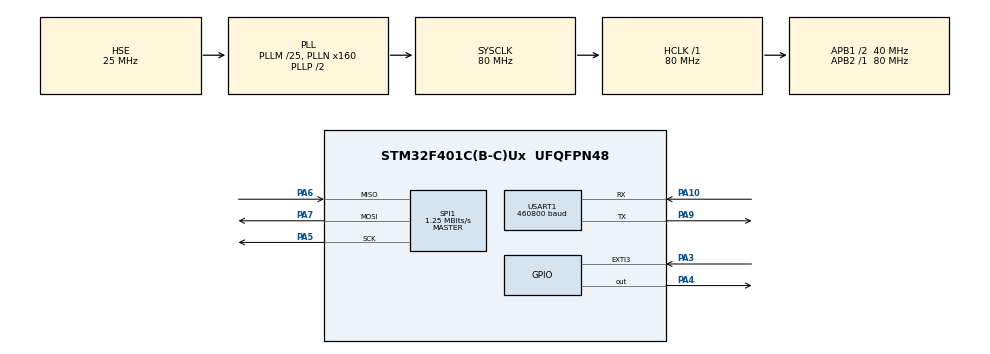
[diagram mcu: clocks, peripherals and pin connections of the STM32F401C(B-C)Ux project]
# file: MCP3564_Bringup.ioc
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Mcu.Family=STM32F4
Mcu.Name=STM32F401C(B-C)Ux
Mcu.Package=UFQFPN48
NVIC.PriorityGroup=NVIC_PRIORITYGROUP_4
NVIC.USART1_IRQn=true\:0\:0\:false\:false\:true\:true\:true\:true
PA10.Mode=Asynchronous
PA10.Signal=USART1_RX
PA13.Mode=Serial_Wire
PA13.Signal=SYS_JTMS-SWDIO
PA14.Mode=Serial_Wire
PA14.Signal=SYS_JTCK-SWCLK
PA3.Signal=GPXTI3
PA4.GPIO_Speed=GPIO_SPEED_FREQ_VERY_HIGH
PA4.PinState=GPIO_PIN_SET
PA4.Signal=GPIO_Output
PA5.Mode=Full_Duplex_Master
PA5.Signal=SPI1_SCK
PA6.Mode=Full_Duplex_Master
PA6.Signal=SPI1_MISO
PA7.Mode=Full_Duplex_Master
PA7.Signal=SPI1_MOSI
PA9.Mode=Asynchronous
PA9.Signal=USART1_TX
PH0\ -\ OSC_IN.Mode=HSE-External-Oscillator
PH0\ -\ OSC_IN.Signal=RCC_OSC_IN
PH1\ -\ OSC_OUT.Mode=HSE-External-Oscillator
PH1\ -\ OSC_OUT.Signal=RCC_OSC_OUT
ProjectManager.HeapSize=0x200
ProjectManager.StackSize=0x400
ProjectManager.TargetToolchain=STM32CubeIDE
RCC.48MHZClocksFreq_Value=40000000
RCC.AHBFreq_Value=80000000
RCC.APB1CLKDivider=RCC_HCLK_DIV2
RCC.APB1Freq_Value=40000000
RCC.APB1TimFreq_Value=80000000
RCC.APB2Freq_Value=80000000
RCC.APB2TimFreq_Value=80000000
RCC.CortexFreq_Value=80000000
RCC.HCLKFreq_Value=80000000
RCC.HSE_VALUE=25000000
RCC.HSI_VALUE=16000000
RCC.LSE_VALUE=32768
RCC.PLLM=25
RCC.PLLN=160
RCC.PLLSourceVirtual=RCC_PLLSOURCE_HSE
RCC.SYSCLKFreq_VALUE=80000000
RCC.SYSCLKSource=RCC_SYSCLKSOURCE_PLLCLK
RCC.VCOOutputFreq_Value=160000000
SPI1.BaudRatePrescaler=SPI_BAUDRATEPRESCALER_64
SPI1.CLKPhase=SPI_PHASE_1EDGE
SPI1.CLKPolarity=SPI_POLARITY_LOW
SPI1.CalculateBaudRate=1.25 MBits/s
SPI1.Direction=SPI_DIRECTION_2LINES
SPI1.Mode=SPI_MODE_MASTER
SPI1.TIMode=SPI_TIMODE_DISABLE
SPI1.VirtualType=VM_MASTER
USART1.BaudRate=460800
USART1.OverSampling=UART_OVERSAMPLING_8
USART1.VirtualMode=VM_ASYNC
board=custom

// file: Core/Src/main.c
/* USER CODE BEGIN Header */
/**
  ******************************************************************************
  * @file           : main.c
  * @brief          : Main program body
  ******************************************************************************
  * @attention
  *
  * Copyright (c) 2023 STMicroelectronics.
  * All rights reserved.
  *
  * This software is licensed under terms that can be found in the LICENSE file
  * in the root directory of this software component.
  * If no LICENSE file comes with this software, it is provided AS-IS.
  *
  ******************************************************************************
  */
/* USER CODE END Header */
#include "main.h"
#include "spi.h"
#include "usart.h"
#include "gpio.h"

/* USER CODE BEGIN PD */
#define PUTCHAR_PROTOTYPE int __io_putchar(int ch)
/* USER CODE END PD */

/* USER CODE BEGIN PV */
/* Buffer used for transmission */
uint8_t aTxBuffer[16] = { 0x47 };
//
///* Buffer used for reception */
//UartData TTY;
uint8_t aRxBuffer[16]= { 0, 0, 0, 0,
						 0, 0, 0, 0,
						 0, 0, 0, 0,
						 0, 0, 0, 0 };
//
//uint8_t RxData[32];
//uint8_t *pRxData = &TTY.RxData[0];
//uint8_t TxData[16]= { 34, 35, 36, 37,
//						 34, 35, 36, 37,
//						 34, 35, 36, 37,
//						 34, 35, 36, 37 };

//uint8_t TTY.TxData[16]= { 34, 35, 36, 37,
//						 34, 35, 36, 37,
//						 34, 35, 36, 37,
//						 34, 35, 36, 37 };

/* USER CODE END PV */

void SystemClock_Config(void);

int main(void)
{

  /* MCU Configuration--------------------------------------------------------*/

  /* Reset of all peripherals, Initializes the Flash interface and the Systick. */
  HAL_Init();

  /* Configure the system clock */
  SystemClock_Config();

  /* Initialize all configured peripherals */
  MX_GPIO_Init();
  MX_SPI1_Init();
  MX_USART1_UART_Init();
  /* USER CODE BEGIN 2 */
  HAL_GPIO_WritePin( GPIOA, GPIO_PIN_4, 1);
  Running_UART_Comm_Init();
//  if(HAL_UART_Receive_IT (&huart1, NULL,1)!= HAL_OK)
//  {
//    Error_Handler();
//  }
  /* USER CODE END 2 */

  /* Infinite loop */

    /* USER CODE BEGIN 3 */
	  HAL_GPIO_WritePin( GPIOA, GPIO_PIN_4, 0);
	  aTxBuffer[0] = 0x78;
	  if(HAL_SPI_Transmit(&hspi1, aTxBuffer, 1, 1000)!= HAL_OK)
  	  {
 	    Error_Handler();
  	  }
	  HAL_GPIO_WritePin( GPIOA, GPIO_PIN_4, 1);

	  HAL_Delay(2000);
	  HAL_GPIO_WritePin( GPIOA, GPIO_PIN_4, 0);
	  aTxBuffer[0] = 0x47;
	  if(HAL_SPI_TransmitReceive (&hspi1, aTxBuffer, aRxBuffer, 16, 1000)!= HAL_OK)
	  {
		Error_Handler();
	  }
	  HAL_GPIO_WritePin( GPIOA, GPIO_PIN_4, 1);

	  HAL_Delay(2000);

	  HAL_GPIO_WritePin( GPIOA, GPIO_PIN_4, 0);
		aTxBuffer[0] = 0x46;
		aTxBuffer[1] = 0x63;
		aTxBuffer[2] = 0x20;
		aTxBuffer[3] = 0x89;
		aTxBuffer[4] = 0x80;
		aTxBuffer[5] = 0x07;
		aTxBuffer[6] = 0xBC;
	  if(HAL_SPI_Transmit(&hspi1, aTxBuffer, 7, 1000)!= HAL_OK)
		  {
		Error_Handler();
		  }
	  HAL_GPIO_WritePin( GPIOA, GPIO_PIN_4, 1);

	  HAL_Delay(2000);

	  HAL_GPIO_WritePin( GPIOA, GPIO_PIN_4, 0);
		aTxBuffer[0] = 0x47;
		aTxBuffer[1] = 0;
		aTxBuffer[2] = 0;
		aTxBuffer[3] = 0;
		aTxBuffer[4] = 0;
		aTxBuffer[5] = 0;
		aTxBuffer[6] = 0;
	  if(HAL_SPI_TransmitReceive (&hspi1, aTxBuffer, aRxBuffer, 16, 1000)!= HAL_OK)
	  {
		Error_Handler();
	  }
	  HAL_GPIO_WritePin( GPIOA, GPIO_PIN_4, 1);
	  while (1)
	  {
	  HAL_Delay(2000);
	  HAL_GPIO_WritePin( GPIOA, GPIO_PIN_4, 0);
	  aTxBuffer[0] = 0x6C;
	  if(HAL_SPI_Transmit(&hspi1, aTxBuffer, 1, 1000)!= HAL_OK)
  	  {
 	    Error_Handler();
  	  }
	  HAL_GPIO_WritePin( GPIOA, GPIO_PIN_4, 1);

	  HAL_Delay(2000);
		aRxBuffer[0] = 0;
		aRxBuffer[1] = 0;
		aRxBuffer[2] = 0;
		aRxBuffer[3] = 0;
		aRxBuffer[4] = 0;
		aRxBuffer[5] = 0;
		aRxBuffer[6] = 0;
	  HAL_GPIO_WritePin( GPIOA, GPIO_PIN_4, 0);
		aTxBuffer[0] = 0x43;
		aTxBuffer[1] = 0;
		aTxBuffer[2] = 0;
		aTxBuffer[3] = 0;
		aTxBuffer[4] = 0;
		aTxBuffer[5] = 0;
		aTxBuffer[6] = 0;
	  if(HAL_SPI_TransmitReceive (&hspi1, aTxBuffer, aRxBuffer, 6, 1000)!= HAL_OK)
	  {
		Error_Handler();
	  }
	  HAL_GPIO_WritePin( GPIOA, GPIO_PIN_4, 1);

	  HAL_Delay(500);
//	  if(HAL_UART_Transmit(&huart1, (uint8_t *)TxData,16,300)!= HAL_OK)
//	  {
//	    Error_Handler();
//	  }
//	  if(HAL_UART_Transmit_IT (&huart1, (uint8_t *)TxData,16)!= HAL_OK)
//	  {
//	    Error_Handler();
//	  }
//	  char * result = strstr(RxData , "admin" );
  }
  /* USER CODE END 3 */
}

void SystemClock_Config(void)
{
  RCC_OscInitTypeDef RCC_OscInitStruct = {0};
  RCC_ClkInitTypeDef RCC_ClkInitStruct = {0};

  /** Configure the main internal regulator output voltage
  */
  __HAL_RCC_PWR_CLK_ENABLE();
  __HAL_PWR_VOLTAGESCALING_CONFIG(PWR_REGULATOR_VOLTAGE_SCALE2);

  /** Initializes the RCC Oscillators according to the specified parameters
  * in the RCC_OscInitTypeDef structure.
  */
  RCC_OscInitStruct.OscillatorType = RCC_OSCILLATORTYPE_HSE;
  RCC_OscInitStruct.HSEState = RCC_HSE_ON;
  RCC_OscInitStruct.PLL.PLLState = RCC_PLL_ON;
  RCC_OscInitStruct.PLL.PLLSource = RCC_PLLSOURCE_HSE;
  RCC_OscInitStruct.PLL.PLLM = 25;
  RCC_OscInitStruct.PLL.PLLN = 160;
  RCC_OscInitStruct.PLL.PLLP = RCC_PLLP_DIV2;
  RCC_OscInitStruct.PLL.PLLQ = 4;
  if (HAL_RCC_OscConfig(&RCC_OscInitStruct) != HAL_OK)
  {
    Error_Handler();
  }

  /** Initializes the CPU, AHB and APB buses clocks
  */
  RCC_ClkInitStruct.ClockType = RCC_CLOCKTYPE_HCLK|RCC_CLOCKTYPE_SYSCLK
                              |RCC_CLOCKTYPE_PCLK1|RCC_CLOCKTYPE_PCLK2;
  RCC_ClkInitStruct.SYSCLKSource = RCC_SYSCLKSOURCE_PLLCLK;
  RCC_ClkInitStruct.AHBCLKDivider = RCC_SYSCLK_DIV1;
  RCC_ClkInitStruct.APB1CLKDivider = RCC_HCLK_DIV2;
  RCC_ClkInitStruct.APB2CLKDivider = RCC_HCLK_DIV1;

  if (HAL_RCC_ClockConfig(&RCC_ClkInitStruct, FLASH_LATENCY_2) != HAL_OK)
  {
    Error_Handler();
  }
}

/* USER CODE BEGIN 4 */

PUTCHAR_PROTOTYPE
{
  /* Place your implementation of fputc here */
  /* e.g. write a character to the USART1 and Loop until the end of transmission */
	HAL_UART_Transmit(COMM_PARAM_UART, (uint8_t *)&ch, 1, 0xFFFF);

  return ch;
}

/**
  * @brief  Tx Transfer completed callback
  * @param  UartHandle: UART handle.
  * @note   This example shows a simple way to report end of IT Tx transfer, and
  *         you can add your own implementation.
  * @retval None
  */
void HAL_UART_TxCpltCallback(UART_HandleTypeDef *UartHandle)
{
  /* Turn LED1 on: Transfer in transmission process is correct */
	 HAL_GPIO_WritePin( GPIOA, GPIO_PIN_4, 1);
}

/**
  * @brief  Rx Transfer completed callback
  * @param  UartHandle: UART handle
  * @note   This example shows a simple way to report end of IT Rx transfer, and
  *         you can add your own implementation.
  * @retval None
  */
void HAL_UART_RxCpltCallback(UART_HandleTypeDef *UartHandle)
{
	Running_UART_Rx_Process();
}
/* USER CODE END 4 */

void Error_Handler(void)
{
  __disable_irq();
  while (1)
  {
  }
}
